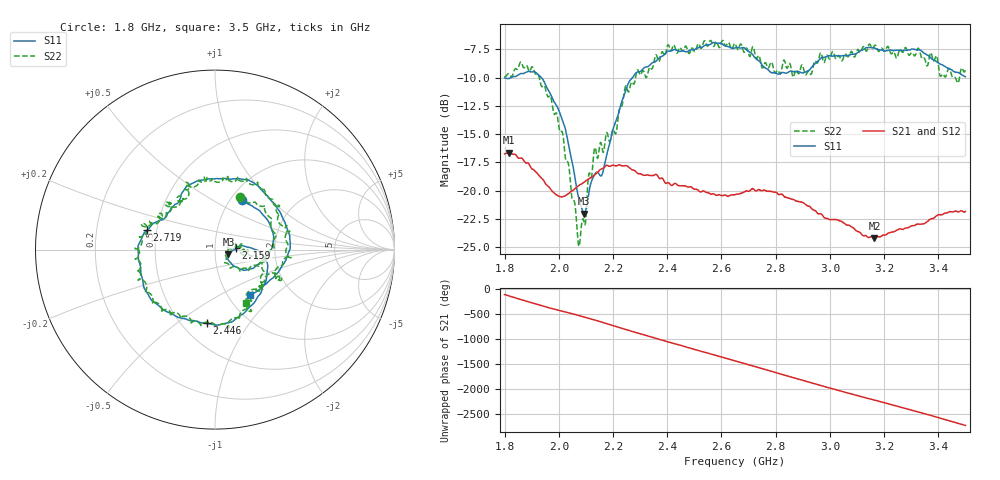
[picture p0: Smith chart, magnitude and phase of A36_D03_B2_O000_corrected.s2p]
! Created with skrf 1.9.0 (http://scikit-rf.org).
# Hz S RI R 50.0
!freq ReS11 ImS11 ReS21 ImS21 ReS12 ImS12 ReS22 ImS22
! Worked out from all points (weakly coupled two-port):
!   1601 points, 1.8 GHz to 3.5 GHz, reference 50 ohm
!   highest |S21| = -16.63 dB at 1.817 GHz (marker M1); lowest = -24.2 dB at 3.164 GHz (marker M2)
!   lowest |S11| = -22.0 dB at 2.093 GHz (marker M3), VSWR 1.17, Z = 58 - j2.99 ohm
!   |S11| at or under -10 dB: start of sweep to 1.824 GHz; 1.936 GHz to 2.272 GHz (336.3 MHz wide, 16 % of centre)
!   |S22| runs from -24.9 to -6.7 dB; largest |S21 - S12| = 0.0026
!   S11 on the Smith chart (normalised r, x): 1.8 GHz: 1.13, +0.69; 2.159 GHz: 1.26, +0.02; 2.446 GHz: 0.66, -0.65; 2.719 GHz: 0.44, +0.11; 3.5 GHz: 1.27, -0.71
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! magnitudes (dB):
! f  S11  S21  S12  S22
! 1.8 GHz  -10.0  -16.8  -16.8  -9.8
! 1.817 GHz  -10.1  -16.6  -16.6  -9.7
! 1.903 GHz  -9.5  -18.1  -18.1  -9.1
! 1.968 GHz  -11.4  -19.8  -19.8  -11.6
! 2.015 GHz  -13.9  -20.5  -20.6  -15.0
! 2.072 GHz  -20.5  -19.6  -19.6  -24.7
! 2.084 GHz  -21.5  -19.4  -19.4  -23.0
! 2.093 GHz  -22.0  -19.2  -19.3  -22.8
! 2.13 GHz  -18.6  -18.6  -18.6  -16.4
! 2.159 GHz  -18.6  -18.1  -18.0  -16.2
! 2.209 GHz  -13.9  -17.8  -17.8  -15.0
! 2.258 GHz  -10.4  -17.9  -17.9  -11.3
! 2.367 GHz  -8.3  -18.8  -18.8  -8.5
! 2.446 GHz  -7.7  -19.6  -19.6  -7.3
! 2.65 GHz  -7.4  -20.4  -20.3  -7.0
! 2.719 GHz  -8.1  -19.9  -19.8  -7.4
! 2.806 GHz  -9.7  -20.2  -20.2  -9.4
! 2.934 GHz  -9.1  -21.6  -21.6  -9.6
! 3.164 GHz  -7.4  -24.2  -24.2  -7.2
! 3.217 GHz  -7.6  -23.7  -23.7  -7.4
! 3.468 GHz  -9.5  -21.8  -21.8  -10.3
! 3.5 GHz  -9.9  -21.8  -21.8  -9.3
